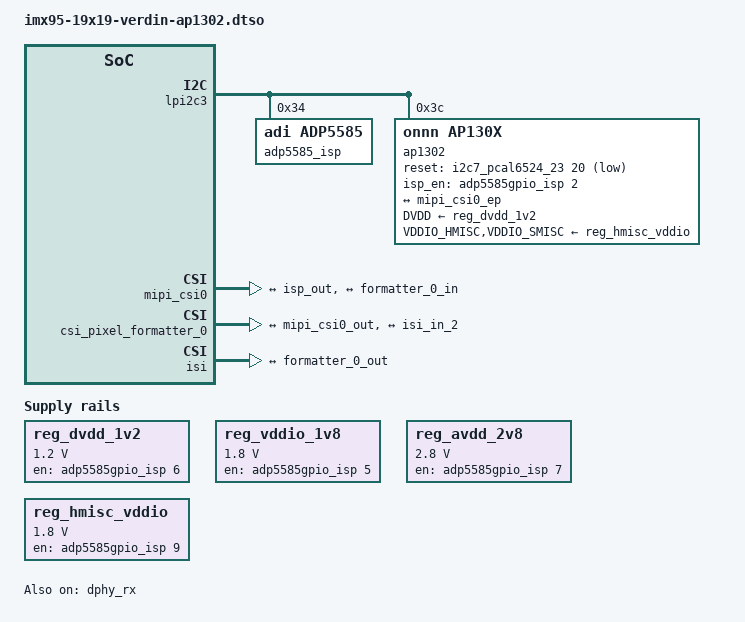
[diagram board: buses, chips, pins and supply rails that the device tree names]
// SPDX-License-Identifier: (GPL-2.0+ OR MIT)
/*
 * Copyright 2024 NXP
 */

/dts-v1/;
/plugin/;

#include <dt-bindings/clock/fsl,imx95-clock.h>
#include <dt-bindings/gpio/gpio.h>

&{/} {
	reg_dvdd_1v2: regulator-dvdd {
		compatible = "regulator-fixed";
		regulator-name = "DVDD_1V2";
		gpio = <&adp5585gpio_isp 6 GPIO_ACTIVE_HIGH>;
		regulator-min-microvolt = <1200000>;
		regulator-max-microvolt = <1200000>;
		enable-active-high;
	};

	reg_vddio_1v8: regulator-vddo {
		compatible = "regulator-fixed";
		regulator-name = "VDDIO_1V8";
		gpio = <&adp5585gpio_isp 5 GPIO_ACTIVE_HIGH>;
		regulator-min-microvolt = <1800000>;
		regulator-max-microvolt = <1800000>;
		enable-active-high;
	};

	reg_avdd_2v8: regulator-avdd {
		compatible = "regulator-fixed";
		regulator-name = "AVDD_2V8";
		gpio = <&adp5585gpio_isp 7 GPIO_ACTIVE_HIGH>;
		regulator-min-microvolt = <2800000>;
		regulator-max-microvolt = <2800000>;
		enable-active-high;
	};

	reg_hmisc_vddio: regulator-hmisc-vddio {
		compatible = "regulator-fixed";
		regulator-name = "HMISC_VDDIO_1V8";
		gpio = <&adp5585gpio_isp 9 GPIO_ACTIVE_HIGH>;
		regulator-min-microvolt = <1800000>;
		regulator-max-microvolt = <1800000>;
		enable-active-high;
	};
};

&lpi2c3 {
	#address-cells = <1>;
	#size-cells = <0>;
	status = "okay";

	/delete-node/ pca9632;
	/delete-node/ i2c3_gpio_expander_20;

	adp5585_isp: mfd-isp@34 {
		compatible = "adi,adp5585";
		reg = <0x34>;
		status = "okay";

		adp5585gpio_isp: gpio-isp-adp5585 {
			compatible = "adp5585-gpio";
			gpio-controller;
			#gpio-cells = <2>;
		};

		adp5585pwm_isp: pwm-isp-adp5585 {
			compatible = "adp5585-pwm";
			#pwm-cells = <3>;
		};
	};

	ap1302: ap1302_mipi@3c {
		compatible = "onnn,ap130x";
		reg = <0x3c>;
		clocks = <&scmi_clk IMX95_CLK_24M>;
		reset-gpios   = <&i2c7_pcal6524_23 20 GPIO_ACTIVE_LOW>;
		isp_en-gpios  = <&adp5585gpio_isp 2 GPIO_ACTIVE_HIGH>;
		DVDD-supply   = <&reg_dvdd_1v2>;
		VDDIO_HMISC-supply  = <&reg_hmisc_vddio>;
		VDDIO_SMISC-supply   = <&reg_hmisc_vddio>;
		status = "okay";

		ports {
			#address-cells = <1>;
			#size-cells = <0>;

			port@0 {
				reg = <0>;
			};

			port@1 {
				reg = <1>;
			};

			port@2 {
				reg = <2>;
				isp_out: endpoint {
					remote-endpoint = <&mipi_csi0_ep>;
					data-lanes = <1 2 3 4>;
				};
			};
		};

		sensors {
			#address-cells = <1>;
			#size-cells = <0>;

			onnn,model = "onnn,ar0144";

			sensor@0 {
				reg = <0>;

				vdd-supply = <&reg_dvdd_1v2>;
				vddio-supply = <&reg_vddio_1v8>;
				vaa-supply = <&reg_avdd_2v8>;
			};
		};
	};
};

&dphy_rx {
	status = "okay";
};

&mipi_csi0 {
	status = "okay";

	ports {
		#address-cells = <1>;
		#size-cells = <0>;

		port@0 {
			reg = <0>;
			mipi_csi0_ep: endpoint {
				remote-endpoint = <&isp_out>;
				data-lanes = <1 2 3 4>;
				clock-lanes = <0>;
			};
		};

		port@1 {
			reg = <1>;
				mipi_csi0_out: endpoint {
				remote-endpoint = <&formatter_0_in>;
			};
		};
	};
};

&csi_pixel_formatter_0 {
	status = "okay";

	ports {
		#address-cells = <1>;
		#size-cells = <0>;

		port@0 {
			reg = <0>;

			formatter_0_in: endpoint {
				remote-endpoint = <&mipi_csi0_out>;
			};
		};

		port@1 {
			reg = <1>;

			formatter_0_out: endpoint {
				remote-endpoint = <&isi_in_2>;
			};
		};
	};
};

&isi {
	status = "okay";

	ports {
		#address-cells = <1>;
		#size-cells = <0>;

		port@2 {
			reg = <2>;

			isi_in_2: endpoint {
				remote-endpoint = <&formatter_0_out>;
			};
		};
	};
};
